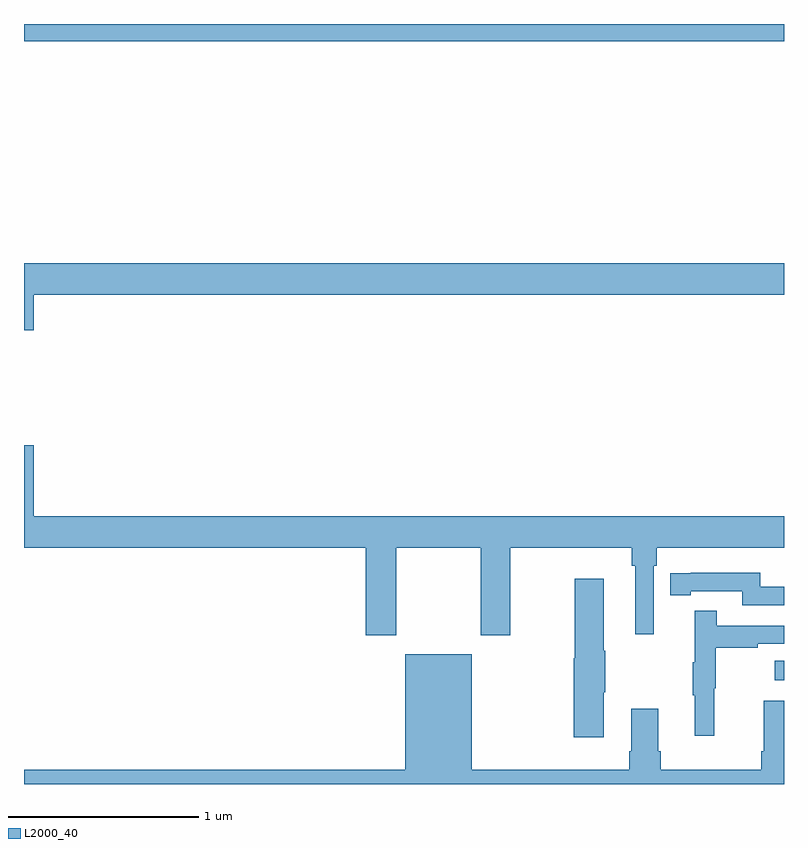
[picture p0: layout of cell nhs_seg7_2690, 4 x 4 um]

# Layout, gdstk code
import gdstk
lib = gdstk.Library(unit=1e-6, precision=1e-09)
def R(c, l, rs):  # rectangles x0, y0, x1, y1
    for r in rs: c.add(gdstk.rectangle(r[:2], r[2:], *l))
def P(c, l, *ps):  # polygons
    for p in ps: c.add(gdstk.Polygon(p, *l))
L2000_40 = (2000, 40)

nhs_seg7_2690 = lib.new_cell('nhs_seg7_2690')
R(nhs_seg7_2690, L2000_40, [(288.951,1038.545,289,1038.649), (285,1041.908,289,1042)])
P(nhs_seg7_2690, L2000_40, [(285.052,1040.576),(289,1040.576),(289,1040.74),(285,1040.74),(285,1040.388),(285.052,1040.388)],
  [(286.959,1039.244),(287.404,1039.244),(287.404,1038.783),(287.559,1038.783),(287.559,1039.244),(288.199,1039.244),(288.199,1039.148),(288.218,1039.148),(288.218,1038.789),(288.315,1038.789),(288.315,1039.148),(288.329,1039.148),(288.329,1039.244),(289,1039.244),(289,1039.408),(285.052,1039.408),(285.052,1039.783),(285,1039.783),(285,1039.244),(286.799,1039.244),(286.799,1038.783),(286.959,1038.783)],
  [(289,1039.038),(288.876,1039.038),(288.876,1039.111),(288.508,1039.111),(288.508,1039.11),(288.4,1039.11),(288.4,1038.994),(288.508,1038.994),(288.508,1039.014),(288.78,1039.014),(288.78,1038.942),(289,1038.942)],
  [(288.052,1038.484),(288.06,1038.484),(288.06,1038.701),(288.052,1038.701),(288.052,1039.081),(287.899,1039.081),(287.899,1038.663),(287.894,1038.663),(287.894,1038.246),(288.052,1038.246)],
  [(288.632,1038.504),(288.64,1038.504),(288.64,1038.718),(288.863,1038.718),(288.863,1038.738),(289,1038.738),(289,1038.834),(288.647,1038.834),(288.647,1038.913),(288.53,1038.913),(288.53,1038.641),(288.519,1038.641),(288.519,1038.467),(288.53,1038.467),(288.53,1038.255),(288.632,1038.255)],
  [(288.197,1038.397),(288.197,1038.172),(288.185,1038.172),(288.185,1038.076),(287.356,1038.076),(287.356,1038.682),(287.006,1038.682),(287.006,1038.076),(285,1038.076),(285,1038),(289,1038),(289,1038.439),(288.893,1038.439),(288.893,1038.172),(288.881,1038.172),(288.881,1038.076),(288.35,1038.076),(288.35,1038.172),(288.337,1038.172),(288.337,1038.397)])

lib.write_gds('nhs_seg7_2690.gds')
